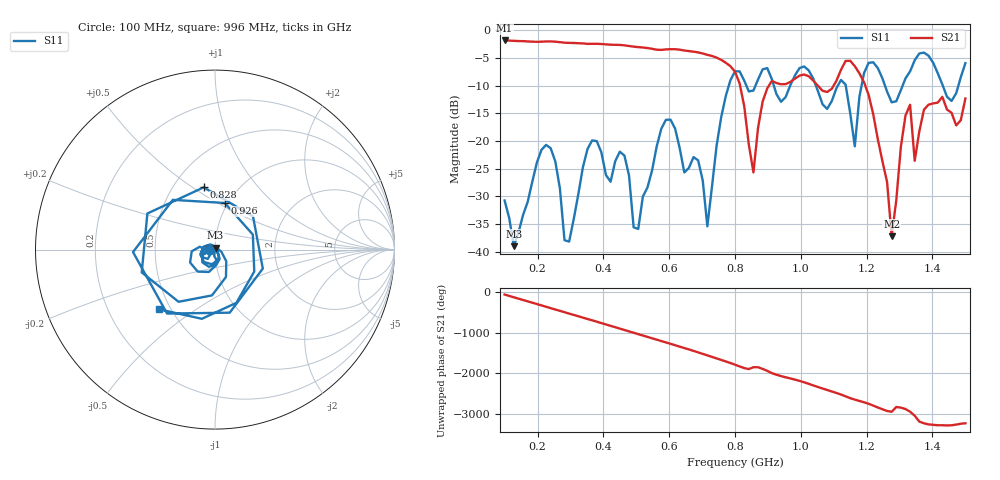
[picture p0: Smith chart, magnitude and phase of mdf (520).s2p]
! NanoVNA-App
! Date: 2025-09-25 15:42:28
! Start: 100MHz Stop: 1,5GHz Points: 101
! S-Parameter data: F S11 S21 S12 S22
# Hz S RI R 50
!  Frequency  S11_Real  S11_Imag  S21_Real  S21_Imag  S12_Real  S12_Imag  S22_Real  S22_Imag
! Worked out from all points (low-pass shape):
!   101 points, 100 MHz to 1.5 GHz, reference 50 ohm
!   highest |S21| = -1.80 dB at 100 MHz (marker M1); lowest = -37.2 dB at 1.276 GHz (marker M2)
!   |S21| within 3 dB of the highest: start of sweep to 739.2 MHz
!   lowest |S11| = -39.0 dB at 128 MHz (marker M3), VSWR 1.02, Z = 50.3 + j1.08 ohm
!   |S11| at or under -10 dB: start of sweep to 781.1 MHz; 1.046 GHz to 1.112 GHz (66.3 MHz wide, 6.14 % of centre); 1.256 GHz to 1.309 GHz (53.26 MHz wide, 4.15 % of centre) (the widest 3 of 7)
!   S12 and S22 are empty: the file has one direction only
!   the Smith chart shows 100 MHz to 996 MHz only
!   S11 on the Smith chart (normalised r, x): 100 MHz: 0.94, -0.01; 828 MHz: 0.70, +0.55; 926 MHz: 0.97, +0.54; 996 MHz: 0.43, -0.36
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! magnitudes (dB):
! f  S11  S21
! 100 MHz  -30.7  -1.8
! 128 MHz  -39.0  -1.9
! 212 MHz  -21.6  -2.0
! 282 MHz  -37.9  -2.2
! 338 MHz  -24.7  -2.3
! 464 MHz  -22.6  -2.7
! 506 MHz  -35.9  -3.0
! 576 MHz  -17.8  -3.5
! 716 MHz  -35.4  -4.4
! 800 MHz  -7.4  -7.5
! 828 MHz  -9.1  -13.7
! 856 MHz  -10.9  -25.7
! 926 MHz  -11.5  -9.5
! 996 MHz  -6.8  -8.2
! 1.038 GHz  -8.7  -9.1
! 1.136 GHz  -9.8  -5.5
! 1.164 GHz  -20.9  -6.4
! 1.192 GHz  -7.7  -9.4
! 1.276 GHz  -13.0  -37.2
! 1.332 GHz  -7.4  -13.4
! 1.346 GHz  -5.4  -23.6
! 1.5 GHz  -5.9  -12.3
